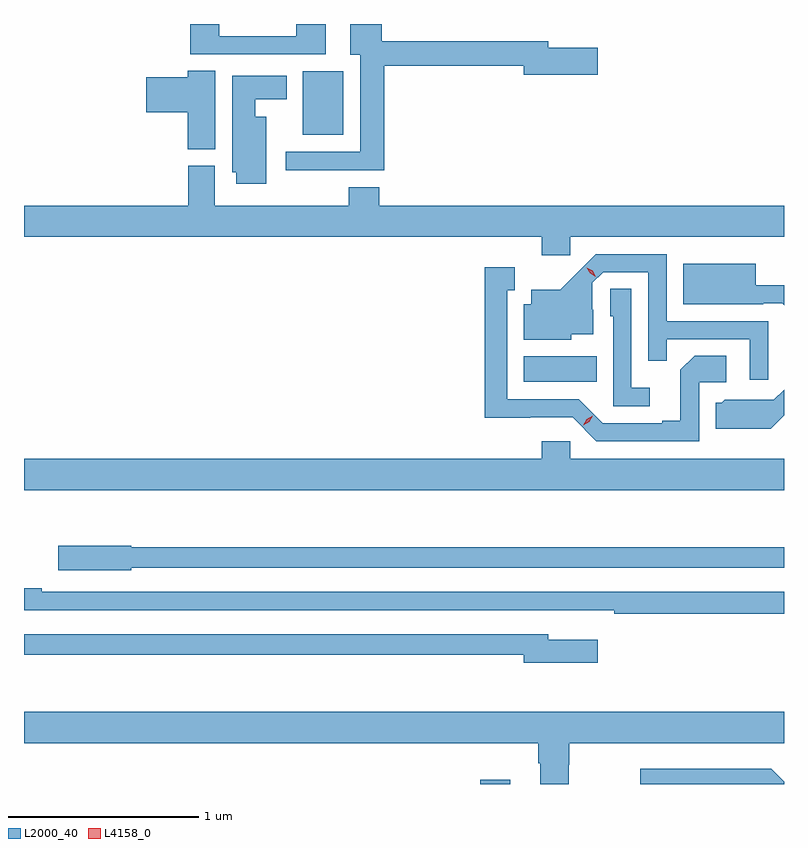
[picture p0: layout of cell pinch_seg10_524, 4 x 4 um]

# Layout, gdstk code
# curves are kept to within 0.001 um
import gdstk
lib = gdstk.Library(unit=1e-6, precision=1e-09)
def R(c, l, rs):  # rectangles x0, y0, x1, y1
    for r in rs: c.add(gdstk.rectangle(r[:2], r[2:], *l))
def P(c, l, *ps):  # polygons
    for p in ps: c.add(gdstk.Polygon(p, *l))
L2000_40 = (2000, 40)
L4158_0 = (4158, 0)

pinch_seg10_524 = lib.new_cell('pinch_seg10_524')
R(pinch_seg10_524, L2000_40, [(301.645,1268.133,301.801,1268.155), (301.874,1270.25,302.258,1270.384), (300.71,1271.549,300.922,1271.884)])
P(pinch_seg10_524, L2000_40, [(301.139,1271.914),(301.874,1271.914),(301.874,1271.867),(302.263,1271.867),(302.263,1272.009),(302.002,1272.009),(302.002,1272.043),(301.126,1272.043),(301.126,1272.133),(300.959,1272.133),(300.959,1271.972),(301.013,1271.972),(301.013,1271.46),(300.621,1271.46),(300.621,1271.363),(301.139,1271.363)],
  [(300.832,1272.133),(300.676,1272.133),(300.676,1272.069),(300.271,1272.069),(300.271,1272.133),(300.119,1272.133),(300.119,1271.973),(300.832,1271.973)],
  [(300.25,1271.888),(300.104,1271.888),(300.104,1271.852),(299.886,1271.852),(299.886,1271.669),(300.104,1271.669),(300.104,1271.473),(300.25,1271.473)],
  [(300.517,1271.644),(300.46,1271.644),(300.46,1271.738),(300.625,1271.738),(300.625,1271.86),(300.338,1271.86),(300.338,1271.352),(300.359,1271.352),(300.359,1271.292),(300.517,1271.292)],
  [(302.118,1271.012),(303.243,1271.012),(303.243,1271.176),(301.112,1271.176),(301.112,1271.275),(300.952,1271.275),(300.952,1271.176),(300.247,1271.176),(300.247,1271.388),(300.107,1271.388),(300.107,1271.176),(299.243,1271.176),(299.243,1271.012),(301.967,1271.012),(301.967,1270.917),(302.118,1270.917)],
  [(303.159,1270.569),(302.625,1270.569),(302.625,1270.92),(302.252,1270.92),(302.065,1270.735),(301.913,1270.735),(301.913,1270.657),(301.874,1270.657),(301.874,1270.472),(302.124,1270.472),(302.124,1270.499),(302.239,1270.499),(302.239,1270.628),(302.235,1270.628),(302.235,1270.77),(302.292,1270.827),(302.529,1270.827),(302.529,1270.36),(302.627,1270.36),(302.627,1270.473),(303.063,1270.473),(303.063,1270.26),(303.159,1270.26)],
  [(303.243,1270.759),(303.094,1270.759),(303.094,1270.87),(302.714,1270.87),(302.714,1270.658),(303.134,1270.658),(303.134,1270.662),(303.234,1270.662),(303.243,1270.653)],
  [(302.796,1270.248),(302.938,1270.248),(302.938,1270.388),(302.773,1270.388),(302.697,1270.312),(302.697,1270.045),(302.603,1270.045),(302.603,1270.032),(302.289,1270.032),(302.163,1270.158),(301.786,1270.158),(301.786,1270.731),(301.825,1270.731),(301.825,1270.852),(301.668,1270.852),(301.668,1270.061),(302.13,1270.062),(302.256,1269.936),(302.796,1269.936)],
  [(302.536,1270.219),(302.439,1270.219),(302.439,1270.739),(302.328,1270.739),(302.328,1270.596),(302.343,1270.596),(302.343,1270.122),(302.536,1270.122)],
  [(303.243,1270.075),(303.243,1270.209),(303.189,1270.155),(303.066,1270.155),(303.066,1270.156),(302.932,1270.156),(302.916,1270.14),(302.885,1270.14),(302.885,1270.004),(303.173,1270.004)],
  [(303.243,1269.844),(302.118,1269.844),(302.118,1269.937),(301.967,1269.937),(301.967,1269.844),(299.243,1269.844),(299.243,1269.68),(303.243,1269.68)],
  [(299.808,1269.27),(303.243,1269.27),(303.243,1269.379),(299.808,1269.379),(299.808,1269.387),(299.424,1269.387),(299.424,1269.257),(299.808,1269.257)],
  [(303.243,1269.144),(299.336,1269.144),(299.336,1269.164),(299.243,1269.164),(299.243,1269.048),(302.098,1269.048),(302.098,1269.047),(302.35,1269.047),(302.35,1269.028),(303.243,1269.028)],
  [(302.263,1268.893),(302.002,1268.893),(302.002,1268.922),(299.243,1268.922),(299.243,1268.814),(301.874,1268.814),(301.874,1268.771),(302.263,1268.771)],
  [(302.109,1268.235),(302.114,1268.235),(302.114,1268.348),(303.243,1268.348),(303.243,1268.512),(299.243,1268.512),(299.243,1268.348),(301.949,1268.348),(301.949,1268.242),(301.961,1268.242),(301.961,1268.133),(302.109,1268.133)],
  [(303.243,1268.145),(303.176,1268.212),(302.487,1268.212),(302.487,1268.133),(303.243,1268.133)])
P(pinch_seg10_524, L4158_0, [(302.252,1270.804),(302.222,1270.82),(302.205,1270.849),(302.205,1270.85),(302.205,1270.85),(302.236,1270.834),(302.252,1270.804),(302.252,1270.804)],
  [(302.187,1270.02),(302.187,1270.02),(302.204,1270.052),(302.236,1270.071),(302.236,1270.071),(302.236,1270.071),(302.219,1270.039),(302.187,1270.02)])

lib.write_gds('pinch_seg10_524.gds')
